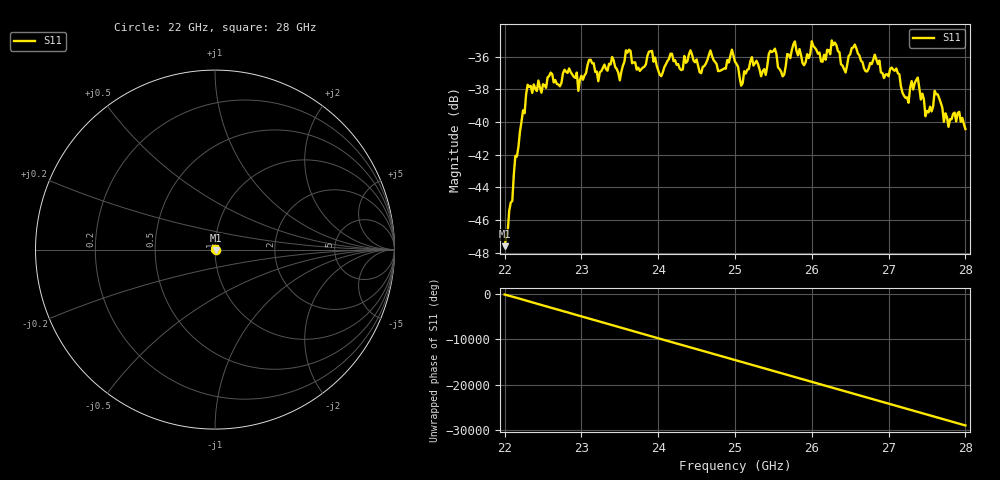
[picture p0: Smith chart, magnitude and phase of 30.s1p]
#  HZ  S  RI  R  50.00
! Rohde & Schwarz ZVA40 4Ports - Version 3.90 - 1145.1110k42 SN: 100403
! Date: 2023-10-04 10:33:34
! Measurement: S12
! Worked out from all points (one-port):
!   301 points, 22 GHz to 28 GHz, reference 50 ohm
!   lowest |S11| = -47.6 dB at 22 GHz (marker M1), VSWR 1.01, Z = 50.4 - j0.131 ohm
!   |S11| at or under -10 dB: start of sweep to end of sweep
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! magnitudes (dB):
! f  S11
! 22 GHz  -47.6
! 22.3 GHz  -37.7
! 22.76 GHz  -37.0
! 22.96 GHz  -38.1
! 23.1 GHz  -36.2
! 23.22 GHz  -37.5
! 23.4 GHz  -36.0
! 23.5 GHz  -37.5
! 23.58 GHz  -35.6
! 24.26 GHz  -36.5
! 25 GHz  -36.3
! 25.08 GHz  -37.8
! 25.52 GHz  -35.5
! 25.62 GHz  -37.2
! 25.76 GHz  -35.2
! 25.9 GHz  -36.5
! 26 GHz  -35.1
! 26.14 GHz  -36.3
! 26.26 GHz  -35.0
! 26.44 GHz  -37.0
! 26.5 GHz  -35.9
! 27.1 GHz  -36.7
! 27.26 GHz  -38.8
! 27.38 GHz  -37.3
! 27.48 GHz  -39.6
! 27.6 GHz  -38.1
! 27.72 GHz  -40.0
! 28 GHz  -40.4
